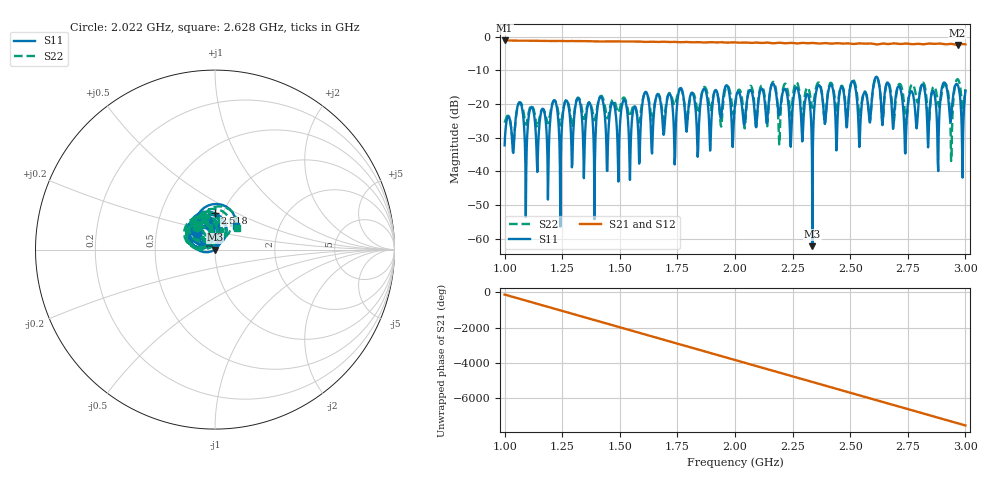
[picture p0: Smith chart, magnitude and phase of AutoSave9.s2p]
!Agilent N9923A: A.05.17
!Date: Sunday, 01 January 2006 13:48:55
!Model: N9923A
!Serial: MY50371189
!CHECKSUM:0039326344
!Correction: S11(ON U)S21(OFF)S12(OFF)S22(OFF)
!S2P File: Measurements:S11,S21,S12,S22:
# Hz S RI R 50
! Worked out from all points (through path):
!   1001 points, 1 GHz to 3 GHz, reference 50 ohm
!   highest |S21| = -1.09 dB at 1 GHz (marker M1); lowest = -2.4 dB at 2.966 GHz (marker M2)
!   group delay of S21, straight-line fit = 10.3 ns
!   lowest |S11| = -62.3 dB at 2.336 GHz (marker M3), VSWR 1.00, Z = 49.9 - j0.0219 ohm
!   |S11| at or under -10 dB: start of sweep to end of sweep
!   |S22| runs from -36.9 to -12.3 dB; largest |S21 - S12| = 0.0028
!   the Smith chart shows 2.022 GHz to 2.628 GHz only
!   S11 on the Smith chart (normalised r, x): 2.022 GHz: 0.81, +0.15; 2.518 GHz: 0.92, +0.39; 2.628 GHz: 1.21, +0.33
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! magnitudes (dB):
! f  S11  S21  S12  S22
! 1 GHz  -32.3  -1.1  -1.1  -25.5
! 1.334 GHz  -22.7  -1.3  -1.3  -20.9
! 1.544 GHz  -42.6  -1.4  -1.4  -23.7
! 1.668 GHz  -17.2  -1.5  -1.5  -17.0
! 2 GHz  -20.2  -1.7  -1.6  -20.8
! 2.022 GHz  -17.3  -1.7  -1.7  -16.0
! 2.268 GHz  -15.1  -2.0  -1.9  -13.6
! 2.334 GHz  -34.0  -1.8  -1.8  -20.8
! 2.336 GHz  -62.3  -1.8  -1.8  -21.1
! 2.362 GHz  -14.4  -2.0  -2.0  -13.6
! 2.44 GHz  -33.8  -1.9  -1.9  -22.6
! 2.518 GHz  -13.9  -2.1  -2.1  -13.3
! 2.54 GHz  -32.8  -2.0  -1.9  -23.6
! 2.628 GHz  -15.2  -2.2  -2.1  -15.3
! 2.668 GHz  -14.2  -2.1  -2.1  -13.9
! 2.738 GHz  -34.5  -2.0  -2.0  -23.2
! 2.814 GHz  -14.2  -2.2  -2.2  -13.7
! 2.882 GHz  -39.9  -2.0  -2.0  -19.9
! 2.912 GHz  -13.8  -2.2  -2.2  -14.0
! 2.938 GHz  -24.3  -2.1  -2.1  -36.9
! 2.966 GHz  -14.2  -2.4  -2.4  -12.6
! 3 GHz  -16.1  -2.2  -2.3  -15.6
